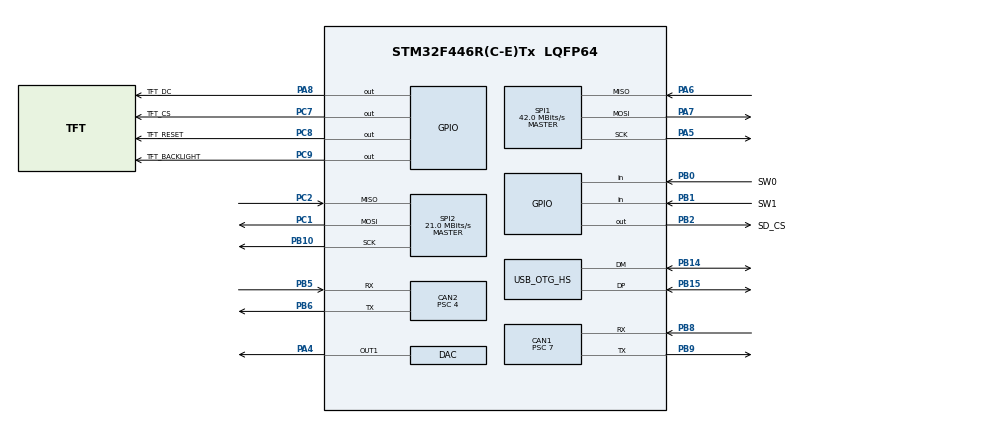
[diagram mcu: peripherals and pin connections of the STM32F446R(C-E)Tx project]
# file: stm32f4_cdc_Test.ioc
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CAN1.BS1=CAN_BS1_8TQ
CAN1.BS2=CAN_BS2_3TQ
CAN1.CalculateTimeBit=2000
CAN1.CalculateTimeQuantum=166.66666666666669
CAN1.Prescaler=7
CAN2.BS1=CAN_BS1_14TQ
CAN2.BS2=CAN_BS2_6TQ
CAN2.CalculateTimeBit=2000
CAN2.CalculateTimeQuantum=95.23809523809524
CAN2.Prescaler=4
Dma.Request0=SPI1_TX
Dma.SPI1_TX.0.Direction=DMA_MEMORY_TO_PERIPH
Dma.SPI1_TX.0.FIFOMode=DMA_FIFOMODE_DISABLE
Dma.SPI1_TX.0.Instance=DMA2_Stream3
Dma.SPI1_TX.0.MemDataAlignment=DMA_MDATAALIGN_BYTE
Dma.SPI1_TX.0.MemInc=DMA_MINC_ENABLE
Dma.SPI1_TX.0.Mode=DMA_NORMAL
Dma.SPI1_TX.0.PeriphDataAlignment=DMA_PDATAALIGN_BYTE
Dma.SPI1_TX.0.PeriphInc=DMA_PINC_DISABLE
Dma.SPI1_TX.0.Priority=DMA_PRIORITY_HIGH
Mcu.Family=STM32F4
Mcu.Name=STM32F446R(C-E)Tx
Mcu.Package=LQFP64
NVIC.DMA2_Stream3_IRQn=true\:0\:0\:false\:false\:true
NVIC.OTG_HS_IRQn=true\:0\:0\:false\:false\:true
NVIC.PriorityGroup=NVIC_PRIORITYGROUP_4
PA13.Mode=Serial_Wire
PA13.Signal=SYS_JTMS-SWDIO
PA14.Mode=Serial_Wire
PA14.Signal=SYS_JTCK-SWCLK
PA4.Signal=COMP_DAC1_group
PA5.GPIO_PuPd=GPIO_PULLUP
PA5.Mode=Full_Duplex_Master
PA5.Signal=SPI1_SCK
PA6.GPIO_PuPd=GPIO_PULLUP
PA6.Mode=Full_Duplex_Master
PA6.Signal=SPI1_MISO
PA7.GPIO_PuPd=GPIO_PULLUP
PA7.Mode=Full_Duplex_Master
PA7.Signal=SPI1_MOSI
PA8.GPIO_Label=TFT_DC
PA8.Signal=GPIO_Output
PB0.GPIO_Label=SW0
PB0.GPIO_PuPd=GPIO_PULLUP
PB0.Signal=GPIO_Input
PB1.GPIO_Label=SW1
PB1.GPIO_PuPd=GPIO_PULLUP
PB1.Signal=GPIO_Input
PB10.Mode=Full_Duplex_Master
PB10.Signal=SPI2_SCK
PB14.Mode=Device_Only_FS
PB14.Signal=USB_OTG_HS_DM
PB15.Mode=Device_Only_FS
PB15.Signal=USB_OTG_HS_DP
PB2.GPIO_Label=SD_CS
PB2.Signal=GPIO_Output
PB5.Mode=Slave
PB5.Signal=CAN2_RX
PB6.Mode=Slave
PB6.Signal=CAN2_TX
PB8.Mode=Master
PB8.Signal=CAN1_RX
PB9.Mode=Master
PB9.Signal=CAN1_TX
PC1.Mode=Full_Duplex_Master
PC1.Signal=SPI2_MOSI
PC2.Mode=Full_Duplex_Master
PC2.Signal=SPI2_MISO
PC7.GPIO_Label=TFT_CS
PC7.Signal=GPIO_Output
PC8.GPIO_Label=TFT_RESET
PC8.Signal=GPIO_Output
PC9.GPIO_Label=TFT_BACKLIGHT
PC9.Signal=GPIO_Output
PH0-OSC_IN.Mode=HSE-External-Oscillator
PH0-OSC_IN.Signal=RCC_OSC_IN
PH1-OSC_OUT.Mode=HSE-External-Oscillator
PH1-OSC_OUT.Signal=RCC_OSC_OUT
ProjectManager.HeapSize=0x200
ProjectManager.StackSize=0x400
ProjectManager.TargetToolchain=MDK-ARM V5
RCC.AHBFreq_Value=168000000
RCC.APB1CLKDivider=RCC_HCLK_DIV4
RCC.APB1Freq_Value=42000000
RCC.APB1TimFreq_Value=84000000
RCC.APB2CLKDivider=RCC_HCLK_DIV2
RCC.APB2Freq_Value=84000000
RCC.APB2TimFreq_Value=168000000
RCC.CortexFreq_Value=168000000
RCC.HCLKFreq_Value=168000000
RCC.HSE_VALUE=8000000
RCC.PLLM=4
RCC.PLLN=168
RCC.PLLQ=7
RCC.SYSCLKFreq_VALUE=168000000
RCC.SYSCLKSource=RCC_SYSCLKSOURCE_PLLCLK
RCC.USBFreq_Value=48000000
RCC.VCOOutputFreq_Value=336000000
SH.COMP_DAC1_group.0=DAC_OUT1,DAC_OUT1
SPI1.BaudRatePrescaler=SPI_BAUDRATEPRESCALER_2
SPI1.CLKPolarity=SPI_POLARITY_HIGH
SPI1.CalculateBaudRate=42.0 MBits/s
SPI1.Mode=SPI_MODE_MASTER
SPI2.BaudRatePrescaler=SPI_BAUDRATEPRESCALER_2
SPI2.CalculateBaudRate=21.0 MBits/s
SPI2.Mode=SPI_MODE_MASTER
USB_DEVICE.CLASS_NAME-CDC_HS=CDC
USB_DEVICE.CLASS_NAME_HS=CDC
USB_DEVICE.MANUFACTURER_STRING-CDC_HS=NullSpaceLabs.com
USB_DEVICE.PRODUCT_STRING_CDC_HS=NSL032 Virtual ComPort
USB_DEVICE.USBD_HandleTypeDef-CDC_HS=hUsbDeviceHS
USB_DEVICE.VirtualMode-CDC_HS=Cdc
USB_DEVICE.VirtualModeHS=Cdc_HS
USB_OTG_HS.VirtualMode-Device_Only_FS=Device_Only_FS
VP_USB_DEVICE_VS_USB_DEVICE_CDC_HS.Mode=CDC_HS
board=stm32f4_cdc_Test

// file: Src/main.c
/**
  ******************************************************************************
  * File Name          : main.c
  * Description        : Main program body
  ******************************************************************************
  *
  * Copyright (c) 2016 STMicroelectronics International N.V.
  * All rights reserved.
  *
  * Redistribution and use in source and binary forms, with or without
  * modification, are permitted, provided that the following conditions are met:
  *
  * 1. Redistribution of source code must retain the above copyright notice,
  *    this list of conditions and the following disclaimer.
  * 2. Redistributions in binary form must reproduce the above copyright notice,
  *    this list of conditions and the following disclaimer in the documentation
  *    and/or other materials provided with the distribution.
  * 3. Neither the name of STMicroelectronics nor the names of other
  *    contributors to this software may be used to endorse or promote products
  *    derived from this software without specific written permission.
  * 4. This software, including modifications and/or derivative works of this
  *    software, must execute solely and exclusively on microcontroller or
  *    microprocessor devices manufactured by or for STMicroelectronics.
  * 5. Redistribution and use of this software other than as permitted under
  *    this license is void and will automatically terminate your rights under
  *    this license.
  *
  * THIS SOFTWARE IS PROVIDED BY STMICROELECTRONICS AND CONTRIBUTORS "AS IS"
  * AND ANY EXPRESS, IMPLIED OR STATUTORY WARRANTIES, INCLUDING, BUT NOT
  * LIMITED TO, THE IMPLIED WARRANTIES OF MERCHANTABILITY, FITNESS FOR A
  * PARTICULAR PURPOSE AND NON-INFRINGEMENT OF THIRD PARTY INTELLECTUAL PROPERTY
  * RIGHTS ARE DISCLAIMED TO THE FULLEST EXTENT PERMITTED BY LAW. IN NO EVENT
  * SHALL STMICROELECTRONICS OR CONTRIBUTORS BE LIABLE FOR ANY DIRECT, INDIRECT,
  * INCIDENTAL, SPECIAL, EXEMPLARY, OR CONSEQUENTIAL DAMAGES (INCLUDING, BUT NOT
  * LIMITED TO, PROCUREMENT OF SUBSTITUTE GOODS OR SERVICES; LOSS OF USE, DATA,
  * OR PROFITS; OR BUSINESS INTERRUPTION) HOWEVER CAUSED AND ON ANY THEORY OF
  * LIABILITY, WHETHER IN CONTRACT, STRICT LIABILITY, OR TORT (INCLUDING
  * NEGLIGENCE OR OTHERWISE) ARISING IN ANY WAY OUT OF THE USE OF THIS SOFTWARE,
  * EVEN IF ADVISED OF THE POSSIBILITY OF SUCH DAMAGE.
  *
  ******************************************************************************
  */
#include "main.h"
#include "stm32f4xx_hal.h"
#include "fatfs.h"
#include "usb_device.h"

/* USER CODE BEGIN Includes */
#include "tft.h"
#include "usbd_cdc_if.h"
#include "bipbuffer.h"

/* USER CODE END Includes */

CAN_HandleTypeDef hcan1;
CAN_HandleTypeDef hcan2;

DAC_HandleTypeDef hdac;

SPI_HandleTypeDef hspi1;
SPI_HandleTypeDef hspi2;
DMA_HandleTypeDef hdma_spi1_tx;

/* USER CODE BEGIN PV */
/* Private variables ---------------------------------------------------------*/
void *bip;
extern uint8_t dataReady;
extern uint8_t buf2[256];
int snoop = 0;

/* USER CODE END PV */

void SystemClock_Config ( void );
void Error_Handler ( void );
static void MX_GPIO_Init ( void );
static void MX_DMA_Init ( void );
static void MX_CAN1_Init ( void );
static void MX_CAN2_Init ( void );
static void MX_SPI1_Init ( void );
static void MX_SPI2_Init ( void );
static void MX_DAC_Init ( void );

/* USER CODE BEGIN PFP */
/* Private function prototypes -----------------------------------------------*/

/* USER CODE END PFP */

/* USER CODE BEGIN 0 */

/** \brief  System Reset
    The function initiates a system reset request to reset the MCU.
 */
__STATIC_INLINE void NVIC_SystemResetX ( void )
{
    __DSB();                                                     /* Ensure all outstanding memory accesses included
                                                              buffered write are completed before reset */
    SCB->AIRCR  = ( ( 0x5FA << SCB_AIRCR_VECTKEY_Pos )      |
                    ( SCB->AIRCR & SCB_AIRCR_PRIGROUP_Msk ) |
                    SCB_AIRCR_SYSRESETREQ_Msk );                  /* Keep priority group unchanged */
    __DSB();                                                     /* Ensure completion of memory access */

    while ( 1 );                                                 /* wait until reset */
}

int SetupCANFilter ( CAN_HandleTypeDef *obj, uint32_t id, uint32_t mask, uint32_t format, uint32_t handle )
{
    int retval = -1;

    if ( ( format == CAN_ID_STD ) || ( format == CAN_ID_EXT ) ) {

        CAN_FilterConfTypeDef  sFilterConfig;

        sFilterConfig.FilterNumber = handle;
        sFilterConfig.FilterMode = CAN_FILTERMODE_IDMASK;
        sFilterConfig.FilterScale = CAN_FILTERSCALE_32BIT;

        if ( format == CAN_ID_STD ) {
            sFilterConfig.FilterIdHigh = id << 5;
            sFilterConfig.FilterIdLow =  0x0;
            sFilterConfig.FilterMaskIdHigh = mask << 5;
            sFilterConfig.FilterMaskIdLow = 0x0;    // allows both remote and data frames

        } else
            if ( format == CAN_ID_EXT ) {
                sFilterConfig.FilterIdHigh = id >> 13;  // EXTID[28:13]
                sFilterConfig.FilterIdLow = ( 0x00FF & ( id << 3 ) ) | ( 1 << 2 ); // EXTID[12:0]
                sFilterConfig.FilterMaskIdHigh = mask >> 13;
                sFilterConfig.FilterMaskIdLow = ( 0x00FF & ( mask << 3 ) ) | ( 1 << 2 );
            }

        sFilterConfig.FilterFIFOAssignment = 0;
        sFilterConfig.FilterActivation = ENABLE;
        sFilterConfig.BankNumber = 14 + handle;

        HAL_CAN_ConfigFilter ( obj, &sFilterConfig );
        retval = handle;
    }

    return retval;
}

/* USER CODE END 0 */

int main ( void )
{

    /* MCU Configuration----------------------------------------------------------*/

    /* Reset of all peripherals, Initializes the Flash interface and the Systick. */
    HAL_Init();

    /* Configure the system clock */
    SystemClock_Config();

    /* Initialize all configured peripherals */
    MX_GPIO_Init();
    MX_DMA_Init();
    MX_CAN1_Init();
    MX_CAN2_Init();
    MX_SPI1_Init();
    MX_SPI2_Init();
    MX_FATFS_Init();
    MX_USB_DEVICE_Init();
    MX_DAC_Init();

    /* USER CODE BEGIN 2 */

    CAN_FilterConfTypeDef  sFilterConfig;

    sFilterConfig.FilterNumber = 0;
    sFilterConfig.FilterMode = CAN_FILTERMODE_IDMASK;
    sFilterConfig.FilterScale = CAN_FILTERSCALE_32BIT;
    sFilterConfig.FilterIdHigh = 0x0000;
    sFilterConfig.FilterIdLow = 0x0000;
    sFilterConfig.FilterMaskIdHigh = 0x0000;
    sFilterConfig.FilterMaskIdLow = 0x0000;
    sFilterConfig.FilterFIFOAssignment = 0;
    sFilterConfig.FilterActivation = ENABLE;
    sFilterConfig.BankNumber = 14;

    if ( HAL_CAN_ConfigFilter ( &hcan1, &sFilterConfig ) != HAL_OK ) {
        /* Filter configuration Error */
        Error_Handler();
    }

    tft_init();
    tft_clear ( TFT_RED );

    /* USER CODE END 2 */

    /* Infinite loop */
    while ( 1 ) {

        /* USER CODE BEGIN 3 */

        {
            uint32_t status;

#if 0

            if ( HAL_CAN_GetState ( &hcan1 ) != HAL_CAN_STATE_READY ) {
                uint8_t buffer[64];
                sprintf ( ( char* ) buffer, "can not ready 0x%x\n", HAL_CAN_GetState ( &hcan1 ) );
                CDC_Transmit_HS ( &buffer[0], strlen ( ( ( const char * ) buffer ) ) );
                HAL_Delay ( 100 );
            }

#endif

            if ( 1 == snoop ) {

                status = HAL_CAN_Receive ( &hcan1, CAN_FIFO0, 100 );

                if ( HAL_OK == status ) {
                    uint8_t buffer[100];

                    sprintf ( ( char* ) buffer, "0x%03x(0x%03x) %d %d (%d) 0x%02x 0x%02x 0x%02x 0x%02x - 0x%02x 0x%02x 0x%02x 0x%02x\n",
                              hcan1.pRxMsg->StdId ,
                              hcan1.pRxMsg->ExtId ,
                              hcan1.pRxMsg->IDE,
                              hcan1.pRxMsg->RTR,
                              hcan1.pRxMsg->DLC,
                              hcan1.pRxMsg->Data[0], hcan1.pRxMsg->Data[1], hcan1.pRxMsg->Data[2], hcan1.pRxMsg->Data[3],
                              hcan1.pRxMsg->Data[4], hcan1.pRxMsg->Data[5], hcan1.pRxMsg->Data[6], hcan1.pRxMsg->Data[7] );

                    CDC_Transmit_HS ( &buffer[0], strlen ( ( ( const char * ) buffer ) )  );

                } else
                    if ( HAL_CAN_STATE_TIMEOUT != status ) {
                        uint8_t buffer[64];
                        sprintf ( ( char* ) buffer, "rx err 0x%x\n", hcan1.State );
                        CDC_Transmit_HS ( buffer, strlen ( ( ( const char * ) buffer ) ) );
                    }
            }
        }

        //. unsigned char *data = bipbuf_poll ( bip, 1 ) ;

        if ( dataReady ) {
            CDC_Transmit_HS ( &buf2[0], dataReady );
            dataReady = 0;

            switch ( buf2[0] ) {
                case 'l':
                    snoop = 1 - snoop;
                    break;

                case 'r':
                    tft_clear ( TFT_RED );
                    break;

                case 'g':
                    tft_clear ( TFT_GREEN );
                    break;

                case 'b':
                    tft_clear ( TFT_BLUE );
                    break;

                case ' ':
                    tft_clear ( TFT_BLACK );
                    break;

                case 'R':
                    NVIC_SystemResetX();
                    break;

                case 's': {
                        uint8_t buffer[64];
                        sprintf ( ( char* ) buffer, "=TSR=0x%x (%x %x %x)\n",

                                  hcan1.Instance->TSR,
                                  __HAL_CAN_TRANSMIT_STATUS ( &hcan1, CAN_TXMAILBOX_0 ),
                                  __HAL_CAN_TRANSMIT_STATUS ( &hcan1, CAN_TXMAILBOX_1 ),
                                  __HAL_CAN_TRANSMIT_STATUS ( &hcan1, CAN_TXMAILBOX_2 )
                                );
                        CDC_Transmit_HS ( buffer, strlen ( ( ( const char * ) buffer ) ) );
                    }
                    break;

                case 't':
                    hcan1.pTxMsg->StdId = 0x7df;
                    hcan1.pTxMsg->ExtId = 0;
                    hcan1.pTxMsg->RTR = CAN_RTR_DATA;
                    hcan1.pTxMsg->IDE = CAN_ID_STD;
                    hcan1.pTxMsg->DLC = 2;
                    hcan1.pTxMsg->Data[0] = 0x3e;
                    hcan1.pTxMsg->Data[1] = 0x80;
                    hcan1.pTxMsg->Data[2] = 0xaa;
                    hcan1.pTxMsg->Data[3] = 0xff;
                    hcan1.pTxMsg->Data[4] = 0xaa;
                    hcan1.pTxMsg->Data[5] = 0xff;
                    hcan1.pTxMsg->Data[6] = 0xaa;
                    hcan1.pTxMsg->Data[7] = 0xff;

                    if ( HAL_OK != HAL_CAN_Transmit ( &hcan1, 1 ) ) {
                        uint8_t buffer[64];
                        sprintf ( ( char* ) buffer, "tx err 0x%x 0x%x\n", hcan1.State , HAL_CAN_GetError ( &hcan1 ) );
                        CDC_Transmit_HS ( buffer, strlen ( ( ( const char * ) buffer ) ) );

                    }

                    break;
            }
        }
    }

    /* USER CODE END 3 */

}

/** System Clock Configuration
*/
void SystemClock_Config ( void )
{

    RCC_OscInitTypeDef RCC_OscInitStruct;
    RCC_ClkInitTypeDef RCC_ClkInitStruct;
    RCC_PeriphCLKInitTypeDef PeriphClkInitStruct;

    /**Configure the main internal regulator output voltage
    */
    __HAL_RCC_PWR_CLK_ENABLE();

    __HAL_PWR_VOLTAGESCALING_CONFIG ( PWR_REGULATOR_VOLTAGE_SCALE1 );

    /**Initializes the CPU, AHB and APB busses clocks
    */
    RCC_OscInitStruct.OscillatorType = RCC_OSCILLATORTYPE_HSE;
    RCC_OscInitStruct.HSEState = RCC_HSE_ON;
    RCC_OscInitStruct.PLL.PLLState = RCC_PLL_ON;
    RCC_OscInitStruct.PLL.PLLSource = RCC_PLLSOURCE_HSE;
    RCC_OscInitStruct.PLL.PLLM = 4;
    RCC_OscInitStruct.PLL.PLLN = 168;
    RCC_OscInitStruct.PLL.PLLP = RCC_PLLP_DIV2;
    RCC_OscInitStruct.PLL.PLLQ = 7;
    RCC_OscInitStruct.PLL.PLLR = 2;

    if ( HAL_RCC_OscConfig ( &RCC_OscInitStruct ) != HAL_OK ) {
        Error_Handler();
    }

    /**Initializes the CPU, AHB and APB busses clocks
    */
    RCC_ClkInitStruct.ClockType = RCC_CLOCKTYPE_HCLK | RCC_CLOCKTYPE_SYSCLK
                                  | RCC_CLOCKTYPE_PCLK1 | RCC_CLOCKTYPE_PCLK2;
    RCC_ClkInitStruct.SYSCLKSource = RCC_SYSCLKSOURCE_PLLCLK;
    RCC_ClkInitStruct.AHBCLKDivider = RCC_SYSCLK_DIV1;
    RCC_ClkInitStruct.APB1CLKDivider = RCC_HCLK_DIV4;
    RCC_ClkInitStruct.APB2CLKDivider = RCC_HCLK_DIV2;

    if ( HAL_RCC_ClockConfig ( &RCC_ClkInitStruct, FLASH_LATENCY_5 ) != HAL_OK ) {
        Error_Handler();
    }

    PeriphClkInitStruct.PeriphClockSelection = RCC_PERIPHCLK_CLK48;
    PeriphClkInitStruct.Clk48ClockSelection = RCC_CLK48CLKSOURCE_PLLQ;

    if ( HAL_RCCEx_PeriphCLKConfig ( &PeriphClkInitStruct ) != HAL_OK ) {
        Error_Handler();
    }

    /**Configure the Systick interrupt time
    */
    HAL_SYSTICK_Config ( HAL_RCC_GetHCLKFreq() / 1000 );

    /**Configure the Systick
    */
    HAL_SYSTICK_CLKSourceConfig ( SYSTICK_CLKSOURCE_HCLK );

    /* SysTick_IRQn interrupt configuration */
    HAL_NVIC_SetPriority ( SysTick_IRQn, 0, 0 );
}
/* quanta 1+14+6 = 21, 21 * 4 = 84, 42000000 / 84 = 5000000 */
/* CAN Baudrate = 500Kbps (CAN clocked at 42 MHz) Prescale = 4 */
/* 42*1000*1000/(((1+14+6)*4))*/
/* Requires a clock with integer division into APB clock */

// APB1=42000000/7/500000 = 12
// prescaler = 12
// sj1 = 1
// bs1= 1 bs2 = 5
// 42*1000*1000/(((1+5+1)*12))

// 6/1/11/2 = nope 85.7%

// APB1=42000000/7/500000 = 12
// 7/1/10/1 = yes 91.7%
// 7/3/ 8/1 = yes 75%

//500	0.0000	4	21	15	5	76.2	 0x004e0003
//500	0.0000	6	14	10	3	78.6	 0x00290005

/* CAN1 init function */
static void MX_CAN1_Init ( void )
{
    static CanRxMsgTypeDef rx_msg;
    static CanTxMsgTypeDef tx_msg;

    hcan1.pRxMsg = &rx_msg;
    hcan1.pTxMsg = &tx_msg;

    hcan1.Instance = CAN1;
    hcan1.Init.Prescaler = 7;
    hcan1.Init.Mode = CAN_MODE_NORMAL;
    hcan1.Init.SJW = CAN_SJW_1TQ;
    hcan1.Init.BS1 = CAN_BS1_8TQ;
    hcan1.Init.BS2 = CAN_BS2_3TQ;
    hcan1.Init.TTCM = DISABLE;
    hcan1.Init.ABOM = DISABLE;
    hcan1.Init.AWUM = DISABLE;
    hcan1.Init.NART = DISABLE;
    hcan1.Init.RFLM = DISABLE;
    hcan1.Init.TXFP = DISABLE;

    if ( HAL_CAN_Init ( &hcan1 ) != HAL_OK ) {
        Error_Handler();
    }

}

/* CAN2 init function */
static void MX_CAN2_Init ( void )
{

    hcan2.Instance = CAN2;
    hcan2.Init.Prescaler = 7;
    hcan2.Init.Mode = CAN_MODE_NORMAL;
    hcan2.Init.SJW = CAN_SJW_1TQ;
    hcan2.Init.BS1 = CAN_BS1_8TQ;
    hcan2.Init.BS2 = CAN_BS2_3TQ;
    hcan2.Init.TTCM = DISABLE;
    hcan2.Init.ABOM = DISABLE;
    hcan2.Init.AWUM = DISABLE;
    hcan2.Init.NART = DISABLE;
    hcan2.Init.RFLM = DISABLE;
    hcan2.Init.TXFP = DISABLE;

    if ( HAL_CAN_Init ( &hcan2 ) != HAL_OK ) {
        Error_Handler();
    }

}

/* DAC init function */
static void MX_DAC_Init ( void )
{

    DAC_ChannelConfTypeDef sConfig;

    /**DAC Initialization
    */
    hdac.Instance = DAC;

    if ( HAL_DAC_Init ( &hdac ) != HAL_OK ) {
        Error_Handler();
    }

    /**DAC channel OUT1 config
    */
    sConfig.DAC_Trigger = DAC_TRIGGER_NONE;
    sConfig.DAC_OutputBuffer = DAC_OUTPUTBUFFER_ENABLE;

    if ( HAL_DAC_ConfigChannel ( &hdac, &sConfig, DAC_CHANNEL_1 ) != HAL_OK ) {
        Error_Handler();
    }

}

/* SPI1 init function */
static void MX_SPI1_Init ( void )
{

    hspi1.Instance = SPI1;
    hspi1.Init.Mode = SPI_MODE_MASTER;
    hspi1.Init.Direction = SPI_DIRECTION_2LINES;
    hspi1.Init.DataSize = SPI_DATASIZE_8BIT;
    hspi1.Init.CLKPolarity = SPI_POLARITY_HIGH;
    hspi1.Init.CLKPhase = SPI_PHASE_1EDGE;
    hspi1.Init.NSS = SPI_NSS_SOFT;
    hspi1.Init.BaudRatePrescaler = SPI_BAUDRATEPRESCALER_2;
    hspi1.Init.FirstBit = SPI_FIRSTBIT_MSB;
    hspi1.Init.TIMode = SPI_TIMODE_DISABLE;
    hspi1.Init.CRCCalculation = SPI_CRCCALCULATION_DISABLE;
    hspi1.Init.CRCPolynomial = 10;

    if ( HAL_SPI_Init ( &hspi1 ) != HAL_OK ) {
        Error_Handler();
    }

}

/* SPI2 init function */
static void MX_SPI2_Init ( void )
{

    hspi2.Instance = SPI2;
    hspi2.Init.Mode = SPI_MODE_MASTER;
    hspi2.Init.Direction = SPI_DIRECTION_2LINES;
    hspi2.Init.DataSize = SPI_DATASIZE_8BIT;
    hspi2.Init.CLKPolarity = SPI_POLARITY_LOW;
    hspi2.Init.CLKPhase = SPI_PHASE_1EDGE;
    hspi2.Init.NSS = SPI_NSS_SOFT;
    hspi2.Init.BaudRatePrescaler = SPI_BAUDRATEPRESCALER_2;
    hspi2.Init.FirstBit = SPI_FIRSTBIT_MSB;
    hspi2.Init.TIMode = SPI_TIMODE_DISABLE;
    hspi2.Init.CRCCalculation = SPI_CRCCALCULATION_DISABLE;
    hspi2.Init.CRCPolynomial = 10;

    if ( HAL_SPI_Init ( &hspi2 ) != HAL_OK ) {
        Error_Handler();
    }

}

static void MX_DMA_Init ( void )
{
    /* DMA controller clock enable */
    __HAL_RCC_DMA2_CLK_ENABLE();

    /* DMA interrupt init */
    /* DMA2_Stream3_IRQn interrupt configuration */
    HAL_NVIC_SetPriority ( DMA2_Stream3_IRQn, 0, 0 );
    HAL_NVIC_EnableIRQ ( DMA2_Stream3_IRQn );

}

/** Configure pins as
        * Analog
        * Input
        * Output
        * EVENT_OUT
        * EXTI
*/
static void MX_GPIO_Init ( void )
{

    GPIO_InitTypeDef GPIO_InitStruct;

    /* GPIO Ports Clock Enable */
    __HAL_RCC_GPIOH_CLK_ENABLE();
    __HAL_RCC_GPIOC_CLK_ENABLE();
    __HAL_RCC_GPIOA_CLK_ENABLE();
    __HAL_RCC_GPIOB_CLK_ENABLE();

    /*Configure GPIO pins : SW0_Pin SW1_Pin */
    GPIO_InitStruct.Pin = SW0_Pin | SW1_Pin;
    GPIO_InitStruct.Mode = GPIO_MODE_INPUT;
    GPIO_InitStruct.Pull = GPIO_PULLUP;
    HAL_GPIO_Init ( GPIOB, &GPIO_InitStruct );

    /*Configure GPIO pin : SD_CS_Pin */
    GPIO_InitStruct.Pin = SD_CS_Pin;
    GPIO_InitStruct.Mode = GPIO_MODE_OUTPUT_PP;
    GPIO_InitStruct.Pull = GPIO_NOPULL;
    GPIO_InitStruct.Speed = GPIO_SPEED_FREQ_LOW;
    HAL_GPIO_Init ( SD_CS_GPIO_Port, &GPIO_InitStruct );

    /*Configure GPIO pins : TFT_CS_Pin TFT_RESET_Pin TFT_BACKLIGHT_Pin */
    GPIO_InitStruct.Pin = TFT_CS_Pin | TFT_RESET_Pin | TFT_BACKLIGHT_Pin;
    GPIO_InitStruct.Mode = GPIO_MODE_OUTPUT_PP;
    GPIO_InitStruct.Pull = GPIO_NOPULL;
    GPIO_InitStruct.Speed = GPIO_SPEED_FREQ_LOW;
    HAL_GPIO_Init ( GPIOC, &GPIO_InitStruct );

    /*Configure GPIO pin : TFT_DC_Pin */
    GPIO_InitStruct.Pin = TFT_DC_Pin;
    GPIO_InitStruct.Mode = GPIO_MODE_OUTPUT_PP;
    GPIO_InitStruct.Pull = GPIO_NOPULL;
    GPIO_InitStruct.Speed = GPIO_SPEED_FREQ_LOW;
    HAL_GPIO_Init ( TFT_DC_GPIO_Port, &GPIO_InitStruct );

    /*Configure GPIO pin Output Level */
    HAL_GPIO_WritePin ( SD_CS_GPIO_Port, SD_CS_Pin, GPIO_PIN_RESET );

    /*Configure GPIO pin Output Level */
    HAL_GPIO_WritePin ( GPIOC, TFT_CS_Pin | TFT_RESET_Pin | TFT_BACKLIGHT_Pin, GPIO_PIN_RESET );

    /*Configure GPIO pin Output Level */
    HAL_GPIO_WritePin ( TFT_DC_GPIO_Port, TFT_DC_Pin, GPIO_PIN_RESET );

}

void Error_Handler ( void )
{
    while ( 1 ) {
    }
}

/************************ (C) COPYRIGHT STMicroelectronics *****END OF FILE****/
